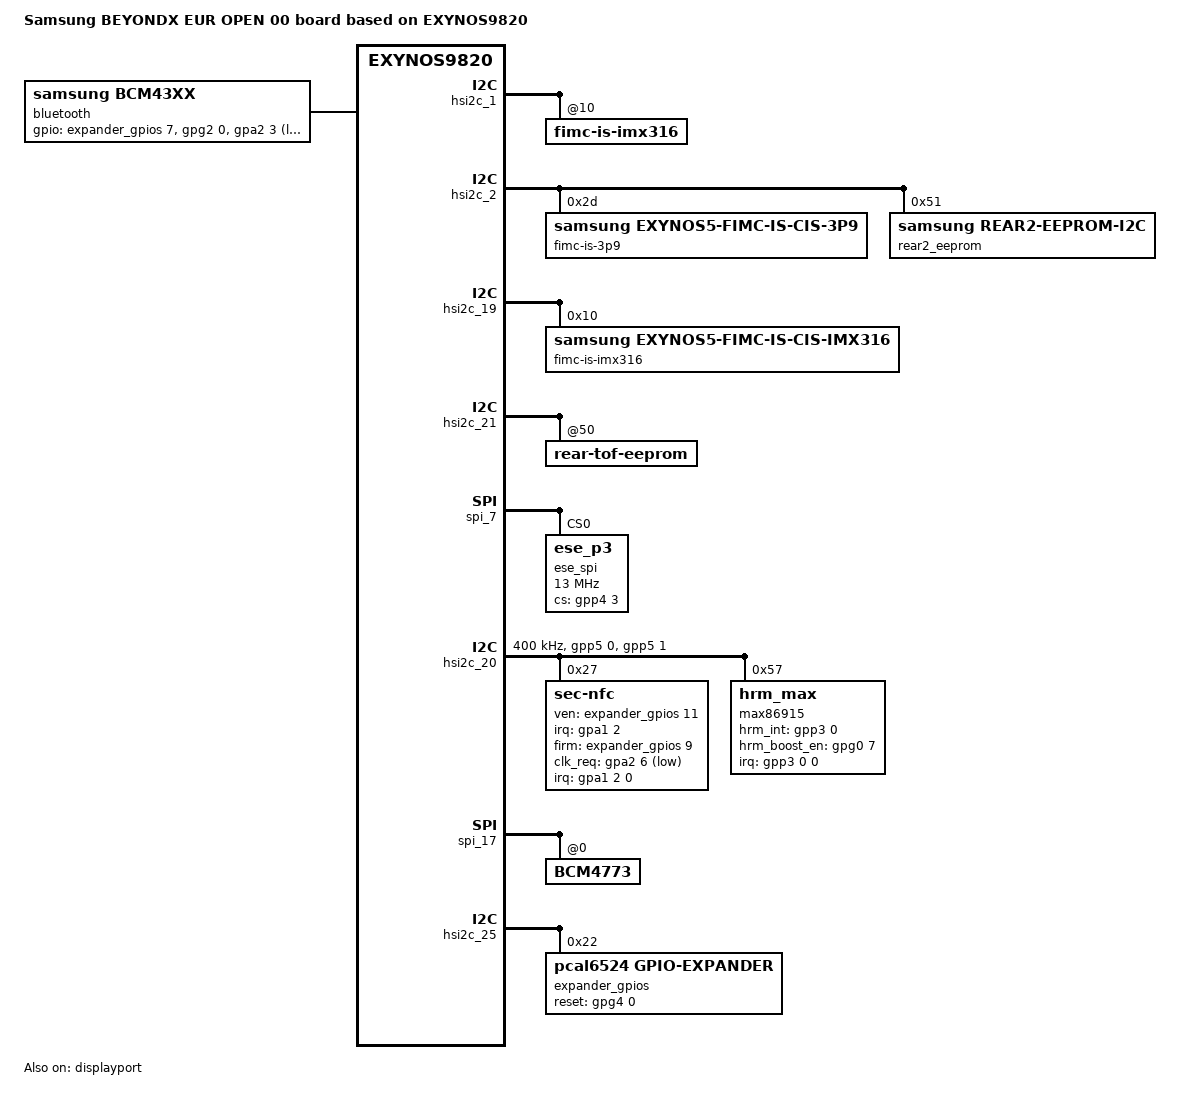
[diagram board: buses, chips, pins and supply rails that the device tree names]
/*
 * SAMSUNG EXYNOS9820 board device tree source
 *
 * Copyright (c) 2018 Samsung Electronics Co., Ltd.
 *		http://www.samsung.com
 *
 * This program is free software; you can redistribute it and/or modify
 * it under the terms of the GNU General Public License version 2 as
 * published by the Free Software Foundation.
*/

/dts-v1/;
/plugin/;
#include "exynos9820-sensorhub.dtsi"
#include "exynos9820-display-lcd.dtsi"
#include "battery_data_beyondxlte_03.dtsi"
#include "exynos9820-beyond2lte_if-pmic-max77705.dtsi"
#include <dt-bindings/clock/exynos9820.h>
#include <dt-bindings/pci/pci.h>
#include "exynos9820-beyondx_camera.dtsi"
#include "exynos9820-beyondx_common.dtsi"
#include "exynos9820-beyond2lte_fingerprint_00.dtsi"
#include "exynos9820-beyondx_eur_open_gpio_00.dtsi"
#include "exynos9820-beyondlte_kor-tdmb-00.dtsi"
#include "exynos9820-beyondx_optics-r00.dtsi"

/ {
	compatible = "samsung,BEYONDX EUR OPEN 00", "samsung,EXYNOS9820";
	dtbo-hw_rev = <0>;
   	dtbo-hw_rev_end = <0>;

	fragment@model {
		target-path = "/";
		__overlay__ {
			#address-cells = <2>;
			#size-cells = <1>;

			model = "Samsung BEYONDX EUR OPEN 00 board based on EXYNOS9820";
			pinctrl@15850000 {
				bt_hostwake: bt-hostwake {
					samsung,pins = "gpa2-3";
					samsung,pin-function = <0>;
					samsung,pin-pud = <1>;
				};
			};
			pinctrl@10430000 {
				bt_btwake: bt-btwake {
					samsung,pins = "gpg2-0";
					samsung,pin-function = <1>;
					samsung,pin-pud = <0>;
					samsung,pin-con-pdn = <3>;
					samsung,pin-pud-pdn = <0>;
				};

				s5100_ap2cp_wakeup: s5100_ap2cp_wakeup {
					samsung,pins = "gpg1-7";
					samsung,pin-con-pdn = <3>;
					samsung,pin-pud = <1>;
				};
			};
			bluetooth {
				compatible = "samsung,bcm43xx";
				gpios = <&expander_gpios 7 0    /*BT_EN*/
				&gpg2 0 0    /*BT_WAKE*/
				&gpa2 3 0xF    /*BT_HOST_WAKE*/ >;
				pinctrl-names = "default";
				pinctrl-0=<&bt_hostwake &bt_btwake>;
				status = "okay";
			};
		}; /* end of __overlay__ */
	}; /* end of fragment */

	fragment@modemif2 {
		target-path = "/";
		__overlay__ {
			#address-cells = <2>;
			#size-cells = <1>;

			/* Modem interface information */
			mif2_pdata: mif2_pdata {
				gpio_ap2cp_wake_up =	<&gpg1 7 0x1>;
			};
		};
	};

	fragment@camera {
		target-path = "/";
		__overlay__ {
			fimc_is_sensor_3m3: fimc-is_sensor_3m3@5A {
				power_seq_id = <2>;
			};
		}; 
	};
}; /* end of root */

/* PERIC1 CAM1 */
&hsi2c_1 {
	/delete-node/ fimc-is-3p9@2D;
	/delete-node/ rear2_eeprom@51;
	/delete-node/ front-tof-eeprom@51;
	fimc-is-imx316@10 { /* rear tof */
		id = <3>; /* matching fimc_is_sensor id */
	};
}; 

/* PERIC1 CAM2 */
&hsi2c_2 {
	fimc-is-3p9@2D {
		compatible = "samsung,exynos5-fimc-is-cis-3p9";
		reg = <0x2D>; /* 1 bit right shift */
		id = <4>; /* matching fimc_is_sensor id */
		setfile = "setA";
		status = "okay";
	};

	rear2_eeprom@51 { /* Ultra wide eeprom */
		compatible = "samsung,rear2-eeprom-i2c";
		reg = <0x51>;

		rom_power_position = <4>;
		rom_size = <0x4000>;
		cal_map_es_version = <10>;
		camera_module_es_version = "A";
		/*skip_cal_loading;*/

		/* Beyond_Rear_Cal_Map_V010_20180709_for_ALL */
		/* 0 header */
		header_crc_check_list = <0x0000 0x00FB 0x00FC>;
		/* 0 master LSC */
		/* 1 master all */
		crc_check_list = <0x0100 0x1AFB 0x1AFC
							0x2200 0x22DF 0x22FC>;

		/* Master */
		rom_header_version_start_addr = <0x40>;
		rom_header_cal_data_start_addr = <0x100>;

		rom_header_cal_map_ver_start_addr = <0x50>;
		rom_header_isp_setfile_ver_start_addr = <0x54>;
		rom_header_project_name_start_addr = <0x5E>;

		rom_header_module_id_addr = <0xAE>; /* 0xA8 + reserved bytes */
		rom_header_sensor_id_addr = <0xB8>;

		rom_header_mtf_data_addr = <0x66>;

		rom_awb_master_addr = <0x2200>;
		rom_awb_module_addr = <0x2224>;
	};
}; 

/* USI07_USI_I2C */
&hsi2c_19 {
	fimc-is-imx316@10 { /* front tof */
		compatible = "samsung,exynos5-fimc-is-cis-imx316";
		reg = <0x10>; /* 1 bit right shift */
		id = <5>; /* matching fimc_is_sensor id */
		setfile = "setA";
		status = "okay";
	};
}; 

/* USI08_USI_I2C */
&hsi2c_21 {
	fimc-is-imx316@10 { /* rear tof */
		status = "disabled";
	};
	
	rear-tof-eeprom@50 {
		rom_size = <0x7FF>;
		skip_header_loading; 
		skip_crc_check; 
	}; 
}; 

&pinctrl_6 {
	spi7_bus_suspend: spi7-bus-suspend {
		samsung,pins = "gpp4-2", "gpp4-1", "gpp4-0";
		samsung,pin-function = <0>;	/* INPUT */
		samsung,pin-pud = <1>;		/* DOWN */
		samsung,pin-drv = <0>;
	};
	spi7_cs_suspend: spi7-cs-suspend {
		samsung,pins = "gpp4-3";
		samsung,pin-function = <0>;	/* INPUT */
		samsung,pin-pud = <1>;		/* DOWN */
		samsung,pin-drv = <0>;
	};
};

/* SPI USI_PERIC1_USI06_SPI */
&spi_7 {
	status = "okay";
	/delete-property/ pinctrl-names;
	/delete-property/ pinctrl-0;
	pinctrl-names = "ese_active", "ese_suspend";
	pinctrl-0 = <&spi7_bus &spi7_cs>;
	pinctrl-1 = <&spi7_bus_suspend &spi7_cs_suspend>;

	ese_spi@0 {
		compatible = "ese_p3";
		reg = <0>;
		spi-max-frequency = <13000000>;
		gpio-controller;
		#gpio-cells = <2>;

		p3-vdd-1p8= "VDD_ESE_1P8";

		clocks = <&clock GATE_USI06_USI>, <&clock DOUT_CLK_PERIC1_USI06_USI>;
		clock-names = "pclk", "sclk";
		ese_p3,cs-gpio = <&gpp4 3 0>;

		controller-data {
			samsung,spi-feedback-delay = <0>;
			samsung,spi-chip-select-mode = <0>;
		};
	};
};

&hsi2c_20 {
	gpios = <&gpp5 0 0 &gpp5 1 0>;
	status = "okay";
	clock-frequency = <400000>;

	sec-nfc@27 {
		compatible = "sec-nfc";
		reg = <0x27>;

		interrupts = <2 0 0>;
		interrupt-parent = <&gpa1>;

		sec-nfc,ven-gpio = <&expander_gpios 11 0>;
		sec-nfc,irq-gpio = <&gpa1 2 0>;
		sec-nfc,firm-gpio = <&expander_gpios 9 0>;
		sec-nfc,clk_req-gpio = <&gpa2 6 0xf>;
		sec-nfc,clk_use = <2>;
		sec-nfc,nfc_pvdd = "VDD_NFC_1P8";

		clocks = <&clock OSC_NFC>;
		clock-names = "oscclk_nfc";
		sec-nfc,nfc_ap_clk;
		sec-nfc,ldo_control;
	};

	max86915@57 {
		compatible = "hrm_max";
		reg = <0x57>;
		interrupt-parent = <&gpp3>;
		interrupts = <0 0 0>;
		pinctrl-names = "default", "sleep", "idle";
		pinctrl-0 = <&hrm_irq &hrm_en>;
		pinctrl-1 = <&hrm_irqsleep &hrm_ensleep>;
		pinctrl-2 = <&hrm_irqidle &hrm_enidle>;
		hrmsensor,hrm_int-gpio = <&gpp3 0 0>;
		hrmsensor,hrm_boost_en-gpio = <&gpg0 7 0>;
		hrmsensor,vdd_1p8 = "S2MPB02_LDO8";
		hrmsensor,i2c_1p8 = "VDD_NFC_1P8";
		hrmsensor,thd = <100000 100000>;
		hrmsensor,init_curr = <0x46 0x41 0x28 0x3c>;
	};
};

&pinctrl_5 {
	hrm_irq: hrm-irq {
		samsung,pins = "gpp3-0";
		samsung,pin-function = <0xf>;
		samsung,pin-pud = <0>;
		samsung,pin-drv = <3>;
	};

	hrm_irqsleep: hrm-irqsleep {
		samsung,pins = "gpp3-0";
		samsung,pin-con-pdn = <2>;
		samsung,pin-pud-pdn = <0>;
	};

	hrm_irqidle: hrm-irqidle {
		samsung,pins = "gpp3-0";
		samsung,pin-function = <0xf>;
		samsung,pin-pud = <0>;
		samsung,pin-drv = <3>;
	};

	hrm_en: hrm-en {
		samsung,pins = "gpg0-7";
		samsung,pin-function = <0>;
		samsung,pin-pud = <1>;
		samsung,pin-drv = <2>;
	};

	hrm_ensleep: hrm-ensleep {
		samsung,pins = "gpg0-7";
		samsung,pin-con-pdn = <2>;
		samsung,pin-pud-pdn = <1>;
	};

	hrm_enidle: hrm-enidle {
		samsung,pins = "gpg0-7";
		samsung,pin-function = <0>;
		samsung,pin-pud = <1>;
		samsung,pin-drv = <2>;
	};
};

&spi_17 {
	BCM4773@0 {
		ssp-acc-position = <7>;
		ssp-mag-position = <5>;
		ssp-mag-array = /bits/ 8 <216 82 110 20 16 123 255 209 211 54 70 37 180 8 0 147 255 113 132 121
					190 252 250 15 9 40 180>;
		ssp-thermi-up = /bits/ 16 <3257 3328 3188 3140 3082 3005 2917 2805 2689 2552 2406 2248 2075 1915 
					1744 1574 1422 1275 1131 988 874 763 664>;
		ssp-thermi-sub = /bits/ 16 <4095 4095 4095 4046 3842 3599 3346 3067 2782 2495 2217 1953 1710 1489
					1288 1111 962 826 712 601 521 451 383>;
	};
};

&hsi2c_25 {
	status = "okay";
	expander_gpios: pcal6524@22 {
		compatible = "pcal6524,gpio-expander";
		gpio-controller;
		#gpio-cells = <2>;
		reg = <0x22>;
		pinctrl-names = "expander_reset_setting";
		pinctrl-0 = <&expander_reset_active>;
		pcal6524,gpio_start = <300>;
		pcal6524,ngpio = <24>;
		pcal6524,reset-gpio = <&gpg4 0 0>;
		pcal6524,support_initialize = <1>;
		/* config, 24 ~ 0, 1bit configure[1:input, 0:output]*/
		pcal6524,config = <0xFFFFFF>;    /* P2[11111111] P1[11111111] P0[11111111] */
		/* data_out, 24 ~ 0, 1bit configure[1:high, 0:low]*/
		pcal6524,data_out = <0x000000>;  /* P2[00000000] P1[00000000] P0[00000000] */
		/* pull_reg, 8 ~ 0, 2bit configure[00:no_pull, 01:pull_down, 10:pull_up, 11:not used] */
		pcal6524,pull_reg_p0 = <0x0000>; /* 00 00 00 00 / 00 00 00 00 */
		pcal6524,pull_reg_p1 = <0x0000>; /* 00 00 00 00 / 00 00 00 00 */
		pcal6524,pull_reg_p2 = <0x0000>; /* 00 00 00 00 / 00 00 00 00 */
	};
};

&pinctrl_5 {
expander_reset_active: expander_reset_active {
	       samsung,pins = "gpg4-0";
	       samsung,pin-function = <1>;
	       samsung,pin-pud = <0>;
	       samsung,pin-val = <1>;
       };
};

&displayport {
	status = "okay";
	dp,aux_sw_oe = <&expander_gpios 4 0>;
	dp,sbu_sw_sel = <&expander_gpios 1 0>;
	dp,usb_con_sel = <&gpg0 4 0>;
};
